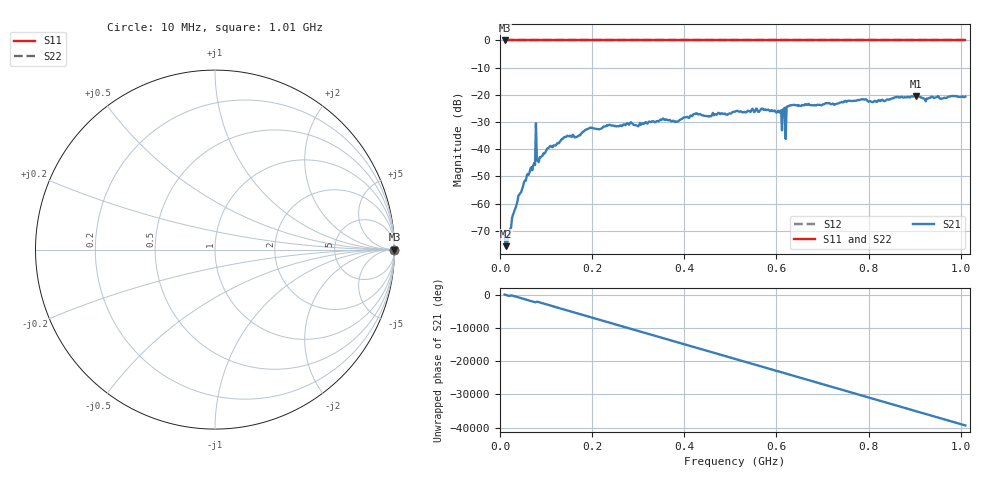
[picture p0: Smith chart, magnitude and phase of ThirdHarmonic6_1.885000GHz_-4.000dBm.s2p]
! 8/16/2025 10:45:57 PM
! C:\ANRITSUVNA\TEMP\TEMP.S2P
! CHANNEL.1
! TR.MEASUREMENT
! RAW.DATA
! RF.CORRECTION.OFF
! AVERAGING.OFF
! IF.BANDWIDTH: 5KHZ
! SWEEPTYPE:  FREQ.SWEEP(Linear)
! Reference Plane Port Info
! PORT:  PORT1  PORT2
! DISTANCE:  0  m  0  m
! TIME:  0  s  0  s
! PHASE.OFFSET:  0  deg.  0  deg.
! LOSS:  0  dB  0  dB
! REF.LOSS:  0  dB  0  dB
! REF.FREQ:  0  Hz  0  Hz
! Power Info
! POWER:  -20  dBm  -20  dBm
! EFF.POWER:  -20  dBm  -20  dBm
! SOURCE.ATTEN:  0  dB  0  dB
! TEST.ATTEN:  0  dB  0  dB
# GHZ S RI R 50.0
! FREQ.GHZ  S11RE  S11IM  S21RE  S21IM  S12RE  S12IM  S22RE  S22IM
!; PortSelection: Port_12
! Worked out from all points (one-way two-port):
!   501 points, 10 MHz to 1.01 GHz, reference 50 ohm
!   highest |S21| = -20.39 dB at 902 MHz (marker M1); lowest = -75.7 dB at 12 MHz (marker M2)
!   lowest |S11| = 0.0 dB at 10 MHz (marker M3)
!   |S11| at or under -10 dB: nowhere
!   |S22| runs from 0.0 to 0.0 dB; largest |S21 - S12| = 1.1
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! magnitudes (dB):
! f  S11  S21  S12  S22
! 10 MHz  0.0  -70.6  0.0  0.0
! 12 MHz  0.0  -75.7  0.0  0.0
! 16 MHz  0.0  -74.2  0.0  0.0
! 40 MHz  0.0  -57.0  0.0  0.0
! 72 MHz  0.0  -46.0  0.0  0.0
! 76 MHz  0.0  -45.8  0.0  0.0
! 82 MHz  0.0  -44.3  0.0  0.0
! 84 MHz  0.0  -44.8  0.0  0.0
! 142 MHz  0.0  -35.5  0.0  0.0
! 178 MHz  0.0  -34.0  0.0  0.0
! 196 MHz  0.0  -32.1  0.0  0.0
! 344 MHz  0.0  -29.8  0.0  0.0
! 510 MHz  0.0  -26.2  0.0  0.0
! 606 MHz  0.0  -26.5  0.0  0.0
! 614 MHz  0.0  -25.4  0.0  0.0
! 616 MHz  0.0  -25.2  0.0  0.0
! 624 MHz  0.0  -24.2  0.0  0.0
! 626 MHz  0.0  -24.1  0.0  0.0
! 678 MHz  0.0  -23.8  0.0  0.0
! 844 MHz  0.0  -21.8  0.0  0.0
! 902 MHz  0.0  -20.4  0.0  0.0
! 1.01 GHz  0.0  -20.7  0.0  0.0
